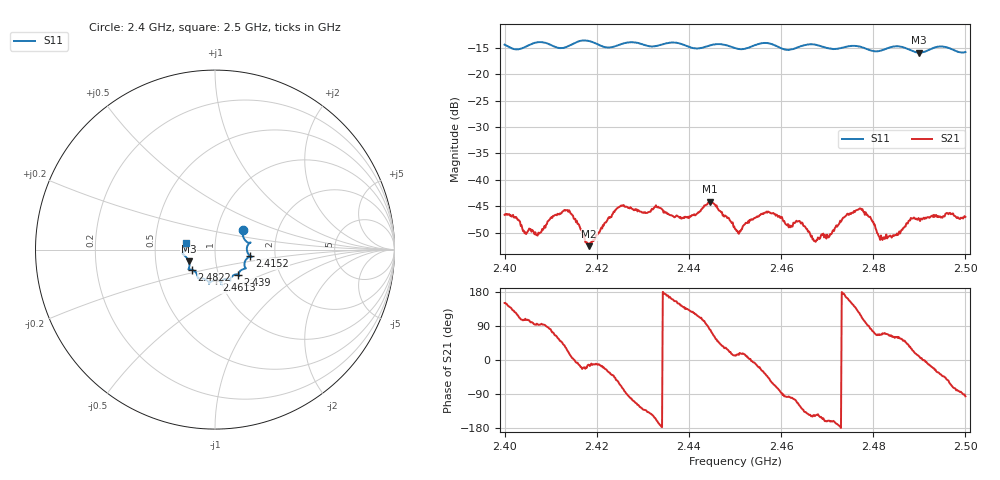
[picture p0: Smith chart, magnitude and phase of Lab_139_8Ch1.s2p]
# Hz S RI R 50
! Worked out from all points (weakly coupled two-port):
!   601 points, 2.4 GHz to 2.5 GHz, reference 50 ohm
!   highest |S21| = -44.15 dB at 2.4445 GHz (marker M1); lowest = -52.6 dB at 2.4183 GHz (marker M2)
!   lowest |S11| = -15.9 dB at 2.4898 GHz (marker M3), VSWR 1.38, Z = 37 - j5.03 ohm
!   |S11| at or under -10 dB: start of sweep to end of sweep
!   S12 and S22 are empty: the file has one direction only
!   S11 on the Smith chart (normalised r, x): 2.4 GHz: 1.33, +0.31; 2.4152 GHz: 1.48, -0.11; 2.439 GHz: 1.24, -0.36; 2.4613 GHz: 0.96, -0.34; 2.4822 GHz: 0.76, -0.17; 2.5 GHz: 0.72, +0.05
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2.4e9  0.1556 0.1109  -0.00404 0.0023  0 0  0 0
2.407e9  0.1974 0.0384  -0.000306 0.00297  0 0  0 0
2.413e9  0.1791 -0.00953  0.00406 0.00321  0 0  0 0
2.415167e9  0.1947 -0.0357  0.00423 -7.57e-06  0 0  0 0
2.416667e9  0.2044 -0.0417  0.00318 -0.0011  0 0  0 0
2.418333e9  0.2031 -0.0393  0.00229 -0.00053  0 0  0 0
2.424833e9  0.1656 -0.0943  0.00261 -0.00484  0 0  0 0
2.433333e9  0.1331 -0.1323  -0.00539 -0.00137  0 0  0 0
2.439e9  0.1282 -0.1395  -0.0033 0.00282  0 0  0 0
2.4445e9  0.0845 -0.1678  0.00103 0.00612  0 0  0 0
2.45e9  0.0684 -0.1638  0.00334 0.00072  0 0  0 0
2.457e9  0.0396 -0.194  0.00359 -0.00331  0 0  0 0
2.461333e9  0.00766 -0.1705  -0.000484 -0.00366  0 0  0 0
2.464167e9  -0.0278 -0.1817  -0.00214 -0.00334  0 0  0 0
2.466667e9  -0.0331 -0.19  -0.0025 -0.00156  0 0  0 0
2.470333e9  -0.0459 -0.1702  -0.00267 -0.000958  0 0  0 0
2.477167e9  -0.0951 -0.1561  -0.00262 0.00466  0 0  0 0
2.482167e9  -0.1283 -0.1124  0.000977 0.00264  0 0  0 0
2.483333e9  -0.1396 -0.1108  0.00115 0.00266  0 0  0 0
2.489833e9  -0.1461 -0.0663  0.00426 0.000804  0 0  0 0
2.494667e9  -0.1823 -0.0219  0.00346 -0.00268  0 0  0 0
2.5e9  -0.159 0.0341  -0.000452 -0.00442  0 0  0 0
